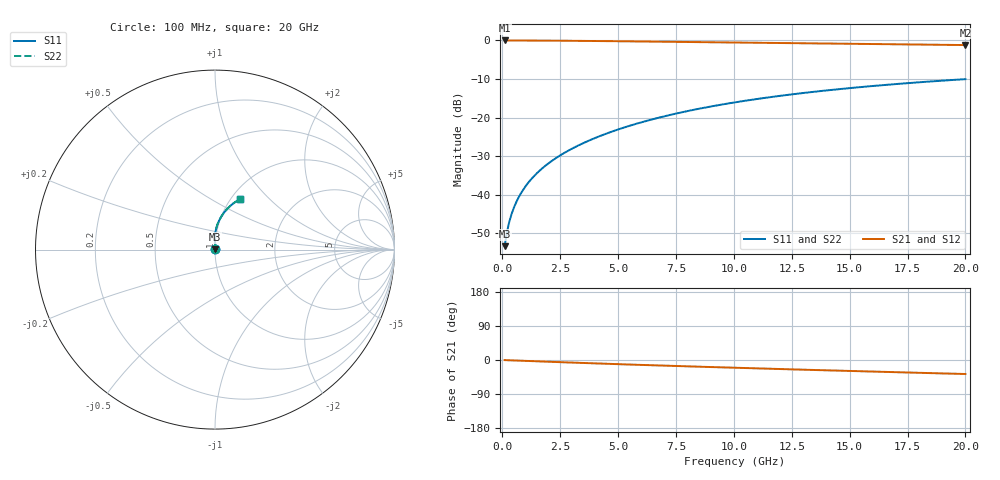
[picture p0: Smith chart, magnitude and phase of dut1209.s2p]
! Touchstone file exported from HFSS 2024.1.0
!  File:  C:/UserFiles/LocalFiles/RDL_TSV_Batchsim/temp_RDL_bottom_1209_1780243632.aedt
!  Generated:  12:09:39 AM Jun  1, 2026
!  Design:  RDL_bottom
!  Project:  temp_RDL_bottom_1209_1780243632
!  Setup:  Setup1
!  Solution:  Sweep
! Variables:
!  dtsv = 10.80580581um
!  hbump = 3um
!  htsv = 77.49um
!  ldown = 522.9um
!  lrdl = 100um
!  p = 40
!  p1 = 58.4um
!  rhole = 1um
!  t = 450um
!  tdown = 4.65um
!  trdl = 3.915915916um
!  wdown = 28.53um
!  wrdl = 20um
# GHz S MA R 50.000000
! Terminal data exported
! Port[1] = RDL1_T1
! Port[2] = RDL1_T2
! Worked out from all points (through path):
!   200 points, 100 MHz to 20 GHz, reference 50 ohm
!   highest |S21| = -0.01 dB at 100 MHz (marker M1); lowest = -1.2 dB at 20 GHz (marker M2)
!   group delay of S21, straight-line fit = 5.05 ps
!   lowest |S11| = -53.4 dB at 100 MHz (marker M3), VSWR 1.00, Z = 50.2 + j0.142 ohm
!   |S11| at or under -10 dB: start of sweep to end of sweep
!   |S22| runs from -53.4 to -10.1 dB; largest |S21 - S12| = 3.2e-15
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0.1  0.002144 41.4  0.9984 -0.2  0.9984 -0.2  0.002144 41.4
! Gamma 0 0 0 0
! Port Impedance 50 0 50 0
0.2  0.003253 58.0  0.9982 -0.5  0.9982 -0.5  0.003253 58.0
0.3  0.004422 65.6  0.998 -0.7  0.998 -0.7  0.004422 65.6
0.4  0.005589 70.2  0.9979 -0.9  0.9979 -0.9  0.005589 70.2
0.5  0.006759 73.4  0.9977 -1.2  0.9977 -1.2  0.006759 73.4
0.6  0.007938 75.9  0.9975 -1.4  0.9975 -1.4  0.007938 75.9
0.8  0.01033 79.4  0.9972 -1.9  0.9972 -1.9  0.01033 79.4
1.1  0.014 82.7  0.9965 -2.6  0.9965 -2.6  0.014 82.7
1.5  0.01903 85.5  0.9954 -3.5  0.9954 -3.5  0.01903 85.5
2.1  0.02685 87.9  0.9931 -4.8  0.9931 -4.8  0.02685 87.9
2.7  0.03505 89.3  0.9902 -6.2  0.9902 -6.2  0.03505 89.3
3.5  0.04657 90.2  0.9856 -7.9  0.9856 -7.9  0.04657 90.2
4.2  0.0572 90.5  0.9811 -9.4  0.9811 -9.4  0.0572 90.5
5  0.06993 90.2  0.9756 -11.0  0.9756 -11.0  0.06992 90.2
5.9  0.08484 89.5  0.9691 -12.8  0.9691 -12.8  0.08483 89.5
6.8  0.1002 88.3  0.9624 -14.5  0.9624 -14.5  0.1002 88.3
8.4  0.1282 85.7  0.9507 -17.5  0.9507 -17.5  0.1282 85.7
10.1  0.1582 82.5  0.9384 -20.6  0.9384 -20.6  0.1581 82.5
11.7  0.1859 79.4  0.9271 -23.4  0.9271 -23.4  0.1859 79.4
13.4  0.2146 76.0  0.9153 -26.3  0.9153 -26.3  0.2146 76.0
16.7  0.267 69.6  0.8925 -31.7  0.8925 -31.7  0.267 69.6
20  0.3144 63.5  0.8699 -37.0  0.8699 -37.0  0.3144 63.5
